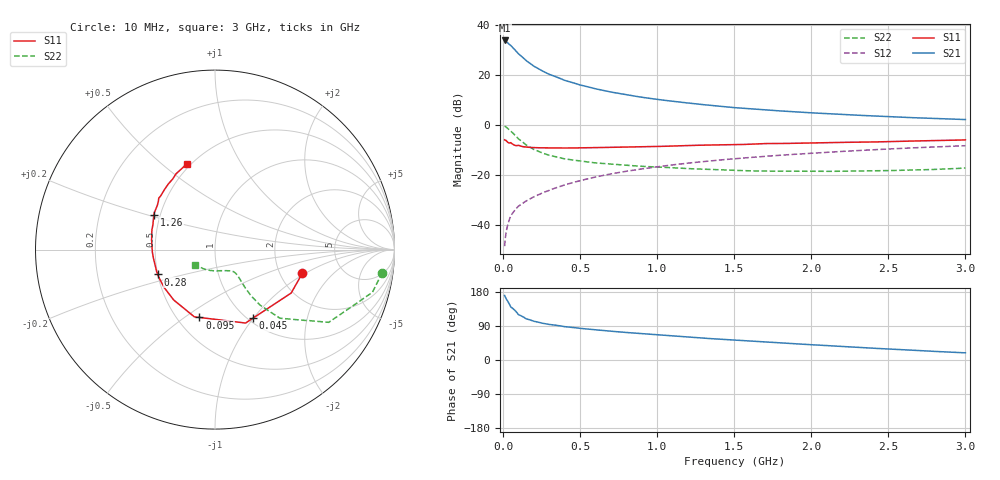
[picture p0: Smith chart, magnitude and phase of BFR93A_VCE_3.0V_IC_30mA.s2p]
! Infineon Technologies  Discrete & RF Semiconductors
! BFR93A
! VCE =  3.0 V,  IC =  30 mA
! Common Emitter S-Parameters:  Nov 2015
# GHz  S  MA  R  50
!  f  S11  S21  S12  S22
! GHz  MAG  ANG  MAG  ANG  MAG  ANG  MAG  ANG
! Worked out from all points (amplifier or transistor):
!   180 points, 10 MHz to 3 GHz, reference 50 ohm
!   highest |S21| = 33.7 dB at 10 MHz (marker M1)
!   |S21| within 3 dB of that: start of sweep to 65.43 MHz
!   unconditionally stable (mu >= 1): 349.2 MHz to 2.917 GHz
!   at 160 MHz: K = 0.80, MSG = 27.6 dB, |S12| = -30.0 dB
!   at 1.22 GHz: K = 1.07, MAG = 10.2 dB, |S12| = -15.1 dB
!   at 3 GHz: K = 0.99, MSG = 5.2 dB, |S12| = -8.3 dB
!   S11 on the Smith chart (normalised r, x): 10 MHz: 2.66, -0.94; 45 MHz: 1.06, -1.00; 95 MHz: 0.64, -0.57; 280 MHz: 0.50, -0.16; 1.26 GHz: 0.46, +0.21; 3 GHz: 0.48, +0.61
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0.01  0.5044 -15.1  48.55 170.3  0.0038 83.6  0.941 -7.8
0.02  0.4886 -29.7  46.79 161.6  0.0074 78.7  0.9088 -15.2
0.045  0.4366 -60.9  39.47 144.2  0.014 69.4  0.7728 -29.2
0.05  0.4432 -67.4  38.53 140.0  0.0153 68.5  0.7523 -32.6
0.095  0.3878 -102.9  27.32 122.4  0.023 63.4  0.547 -44.7
0.1  0.3918 -107.1  26.31 119.6  0.0239 63.0  0.5263 -46.6
0.15  0.3629 -129.4  19.13 108.7  0.0303 63.6  0.3973 -51.0
0.2  0.3534 -143.1  14.88 102.2  0.0367 65.9  0.3236 -52.0
0.24  0.3493 -150.9  12.66 98.5  0.0419 66.7  0.2872 -51.8
0.28  0.3479 -156.5  10.97 95.3  0.047 67.8  0.2598 -51.3
0.3  0.3477 -158.9  10.22 93.8  0.0496 68.4  0.2476 -51.0
0.4  0.3461 -170.2  7.753 88.0  0.0635 69.9  0.2099 -49.7
0.52  0.3498 -179.3  6.066 82.8  0.0799 70.1  0.1867 -48.8
0.6  0.3526 176.1  5.262 79.6  0.0912 69.9  0.1745 -48.8
0.7  0.3571 171.5  4.533 75.9  0.1053 69.5  0.1648 -49.6
0.8  0.3626 166.8  3.991 72.5  0.1188 68.8  0.1563 -50.8
1.02  0.3728 158.1  3.175 65.9  0.1485 66.5  0.1435 -55.4
1.26  0.3923 150.2  2.617 58.9  0.1803 63.7  0.132 -62.7
1.52  0.4041 142.8  2.193 51.9  0.2137 60.5  0.1234 -72.5
2.02  0.4375 130.0  1.731 39.9  0.2746 54.1  0.1182 -93.9
2.52  0.4671 118.9  1.454 28.7  0.3331 47.3  0.1229 -117.1
3  0.5023 108.4  1.28 18.9  0.3849 40.8  0.1378 -142.1
